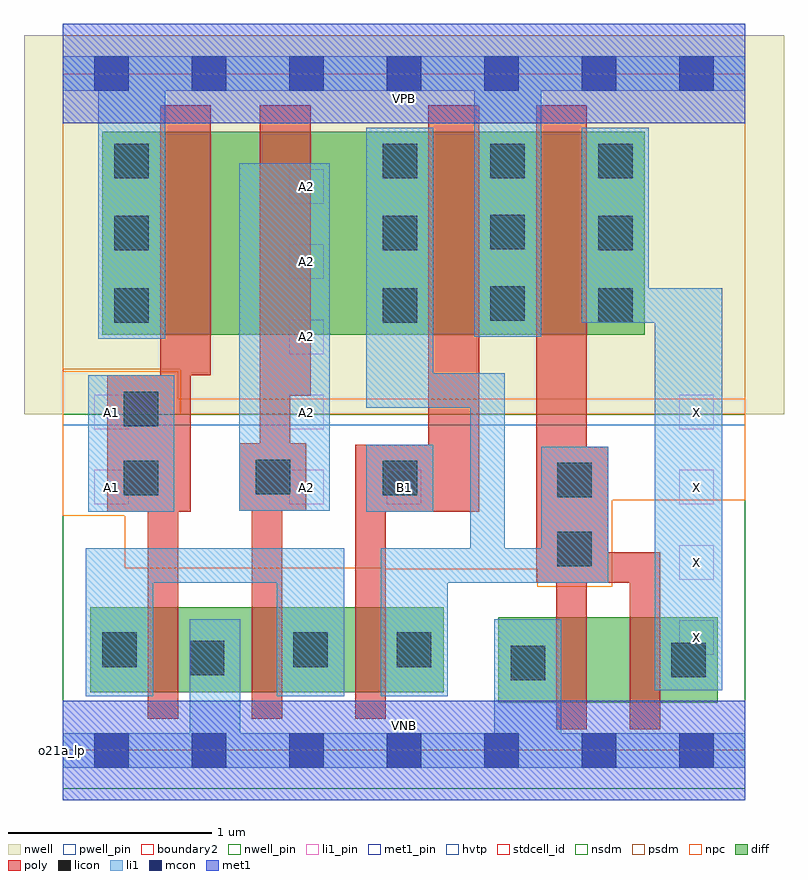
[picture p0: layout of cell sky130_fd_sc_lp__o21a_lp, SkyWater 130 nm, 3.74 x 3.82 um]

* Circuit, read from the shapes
.subckt sky130_fd_sc_lp__o21a_lp A1 A2 B1 VGND VNB VPB VPWR X
XM1 VGND A1 n1 VNB sky130_fd_pr__nfet_01v8 w=0.42 l=0.15
XM2 n1 A2 VGND VNB sky130_fd_pr__nfet_01v8 w=0.42 l=0.15
XM3 n2 B1 n1 VNB sky130_fd_pr__nfet_01v8 w=0.42 l=0.15
XM4 n3 n2 VGND VNB sky130_fd_pr__nfet_01v8 w=0.42 l=0.15
XM5 X n2 n3 VNB sky130_fd_pr__nfet_01v8 w=0.42 l=0.15
XM6 n4 A1 VPWR VPB sky130_fd_pr__pfet_01v8_hvt w=1 l=0.25
XM7 n2 A2 n4 VPB sky130_fd_pr__pfet_01v8_hvt w=1 l=0.25
XM8 VPWR B1 n2 VPB sky130_fd_pr__pfet_01v8_hvt w=1 l=0.25
XM9 X n2 VPWR VPB sky130_fd_pr__pfet_01v8_hvt w=1 l=0.25
.ends

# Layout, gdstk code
import gdstk
lib = gdstk.Library(unit=1e-6, precision=1e-09)
def R(c, l, rs):  # rectangles x0, y0, x1, y1
    for r in rs: c.add(gdstk.rectangle(r[:2], r[2:], *l))
def A(c, l, x, y, w, h, nx, ny, dx, dy):  # array of equal rectangles
    R(c, l, [(x+i*dx, y+j*dy, x+i*dx+w, y+j*dy+h) for i in range(nx) for j in range(ny)])
def P(c, l, *ps):  # polygons
    for p in ps: c.add(gdstk.Polygon(p, *l))
nwell_pin = (64, 16)
nwell = (64, 20)
diff = (65, 20)
poly = (66, 20)
licon = (66, 44)
li1_pin = (67, 16)
li1 = (67, 20)
mcon = (67, 44)
met1_pin = (68, 16)
met1 = (68, 20)
hvtp = (78, 44)
stdcell_id = (81, 4)
nsdm = (93, 44)
psdm = (94, 20)
npc = (95, 20)
pwell_pin = (122, 16)
boundary2 = (236, 0)

sky130_fd_sc_lp__o21a_lp = lib.new_cell('sky130_fd_sc_lp__o21a_lp')
R(sky130_fd_sc_lp__o21a_lp, nwell_pin, [(0,3.085,3.36,3.33)])
R(sky130_fd_sc_lp__o21a_lp, nwell, [(-0.19,1.655,3.55,3.52)])
R(sky130_fd_sc_lp__o21a_lp, diff, [(2.145,0.235,3.225,0.655), (0.135,0.285,1.875,0.705), (0.195,2.045,2.865,3.045)])
P(sky130_fd_sc_lp__o21a_lp, poly, [(0.73,3.175),(0.48,3.175),(0.48,1.845),(0.22,1.845),(0.22,1.175),(0.42,1.175),(0.42,0.155),(0.57,0.155),(0.57,1.175),(0.63,1.175),(0.63,1.845),(0.73,1.845)],
  [(1.22,3.175),(0.97,3.175),(0.97,1.51),(0.87,1.51),(0.87,1.18),(0.93,1.18),(0.93,0.155),(1.08,0.155),(1.08,1.18),(1.2,1.18),(1.2,1.51),(1.12,1.51),(1.12,1.745),(1.22,1.745)],
  [(2.05,3.175),(1.8,3.175),(1.8,1.505),(1.44,1.505),(1.44,0.155),(1.59,0.155),(1.59,1.175),(2.05,1.175)],
  [(2.94,0.975),(2.685,0.975),(2.685,1.495),(2.58,1.495),(2.58,3.175),(2.33,3.175),(2.33,0.825),(2.43,0.825),(2.43,0.105),(2.58,0.105),(2.58,0.825),(2.79,0.825),(2.79,0.105),(2.94,0.105)])
A(sky130_fd_sc_lp__o21a_lp, licon, 0.255, 2.105, 0.17, 0.17, 1, 3, 0, 0.355)
A(sky130_fd_sc_lp__o21a_lp, licon, 1.575, 2.815, 0.17, 0.17, 3, 1, 0.53, 0)
R(sky130_fd_sc_lp__o21a_lp, licon, [(2.205,0.345,2.375,0.515), (2.995,0.36,3.165,0.53), (0.625,0.37,0.795,0.54), (0.195,0.41,0.365,0.58), (1.135,0.41,1.305,0.58), (1.645,0.41,1.815,0.58), (2.435,0.905,2.605,1.075), (2.435,1.245,2.605,1.415), (0.3,1.255,0.47,1.425), (1.575,1.255,1.745,1.425), (0.95,1.26,1.12,1.43), (0.3,1.595,0.47,1.765), (1.575,2.105,1.745,2.275), (2.635,2.105,2.805,2.275), (2.105,2.115,2.275,2.285), (1.575,2.46,1.745,2.63), (2.635,2.46,2.805,2.63), (2.105,2.465,2.275,2.635)])
A(sky130_fd_sc_lp__o21a_lp, li1_pin, 3.035, 0.47, 0.17, 0.17, 1, 4, 0, 0.37)
A(sky130_fd_sc_lp__o21a_lp, li1_pin, 1.115, 1.21, 0.17, 0.17, 1, 5, 0, 0.37)
R(sky130_fd_sc_lp__o21a_lp, li1_pin, [(0.155,1.21,0.325,1.38), (1.595,1.21,1.765,1.38), (0.155,1.58,0.325,1.75)])
R(sky130_fd_sc_lp__o21a_lp, li1, [(0.125,1.175,0.55,1.845), (1.495,1.175,1.825,1.505), (0.87,1.18,1.315,2.89)])
P(sky130_fd_sc_lp__o21a_lp, li1, [(0.175,2.025),(0.175,3.245),(0,3.245),(0,3.415),(3.36,3.415),(3.36,3.245),(2.355,3.245),(2.355,2.035),(2.025,2.035),(2.025,3.245),(0.505,3.245),(0.505,2.025)],
  [(2.125,0.085),(2.125,0.645),(2.455,0.645),(2.455,0.085),(3.36,0.085),(3.36,-0.085),(0,-0.085),(0,0.085),(0.625,0.085),(0.625,0.645),(0.875,0.645),(0.875,0.085)],
  [(1.825,1.855),(2.175,1.855),(2.175,0.995),(2.355,0.995),(2.355,1.495),(2.685,1.495),(2.685,0.825),(1.895,0.825),(1.895,0.265),(1.565,0.265),(1.565,0.995),(2.005,0.995),(2.005,1.685),(1.495,1.685),(1.495,3.065),(1.825,3.065)],
  [(2.915,0.295),(2.915,2.105),(2.555,2.105),(2.555,3.065),(2.885,3.065),(2.885,2.275),(3.245,2.275),(3.245,0.295)],
  [(0.115,0.265),(0.115,0.995),(1.385,0.995),(1.385,0.265),(1.055,0.265),(1.055,0.825),(0.445,0.825),(0.445,0.265)])
A(sky130_fd_sc_lp__o21a_lp, mcon, 0.155, -0.085, 0.17, 0.17, 7, 2, 0.48, 3.33)
R(sky130_fd_sc_lp__o21a_lp, met1_pin, [(0,0,3.36,0.245), (0,3.085,3.36,3.33)])
R(sky130_fd_sc_lp__o21a_lp, met1, [(0,-0.245,3.36,0.245), (0,3.085,3.36,3.575)])
R(sky130_fd_sc_lp__o21a_lp, hvtp, [(0,1.6,3.36,3.33)])
R(sky130_fd_sc_lp__o21a_lp, stdcell_id, [(0,0,3.36,3.33)])
R(sky130_fd_sc_lp__o21a_lp, nsdm, [(0,-0.19,3.36,1.655)])
P(sky130_fd_sc_lp__o21a_lp, psdm, [(3.36,3.52),(0,3.52),(0,1.875),(0.58,1.875),(0.58,1.655),(3.36,1.655)])
P(sky130_fd_sc_lp__o21a_lp, npc, [(3.36,1.73),(0.57,1.73),(0.57,1.865),(0,1.865),(0,1.155),(0.305,1.155),(0.305,0.895),(1.58,0.895),(1.58,0.89),(2.335,0.89),(2.335,0.805),(2.705,0.805),(2.705,1.23),(3.36,1.23)])
R(sky130_fd_sc_lp__o21a_lp, pwell_pin, [(0,0,3.36,0.245)])
R(sky130_fd_sc_lp__o21a_lp, boundary2, [(0,0,3.36,3.33)])
sky130_fd_sc_lp__o21a_lp.add(gdstk.Label('VNB', (1.68,0.123), layer=64, texttype=59))
sky130_fd_sc_lp__o21a_lp.add(gdstk.Label('VPB', (1.68,3.208), layer=64, texttype=5))
sky130_fd_sc_lp__o21a_lp.add(gdstk.Label('o21a_lp', (0,0), layer=83, texttype=44))
sky130_fd_sc_lp__o21a_lp.add(gdstk.Label('VPWR', (1.68,3.208), layer=68, texttype=5))
sky130_fd_sc_lp__o21a_lp.add(gdstk.Label('VGND', (1.68,0.123), layer=68, texttype=5))
sky130_fd_sc_lp__o21a_lp.add(gdstk.Label('B1', (1.68,1.295), layer=67, texttype=5))
sky130_fd_sc_lp__o21a_lp.add(gdstk.Label('A2', (1.2,1.295), layer=67, texttype=5))
sky130_fd_sc_lp__o21a_lp.add(gdstk.Label('A2', (1.2,1.665), layer=67, texttype=5))
sky130_fd_sc_lp__o21a_lp.add(gdstk.Label('A2', (1.2,2.035), layer=67, texttype=5))
sky130_fd_sc_lp__o21a_lp.add(gdstk.Label('A2', (1.2,2.405), layer=67, texttype=5))
sky130_fd_sc_lp__o21a_lp.add(gdstk.Label('A2', (1.2,2.775), layer=67, texttype=5))
sky130_fd_sc_lp__o21a_lp.add(gdstk.Label('A1', (0.24,1.295), layer=67, texttype=5))
sky130_fd_sc_lp__o21a_lp.add(gdstk.Label('A1', (0.24,1.665), layer=67, texttype=5))
sky130_fd_sc_lp__o21a_lp.add(gdstk.Label('X', (3.12,0.555), layer=67, texttype=5))
sky130_fd_sc_lp__o21a_lp.add(gdstk.Label('X', (3.12,0.925), layer=67, texttype=5))
sky130_fd_sc_lp__o21a_lp.add(gdstk.Label('X', (3.12,1.295), layer=67, texttype=5))
sky130_fd_sc_lp__o21a_lp.add(gdstk.Label('X', (3.12,1.665), layer=67, texttype=5))

lib.write_gds('sky130_fd_sc_lp__o21a_lp.gds')
